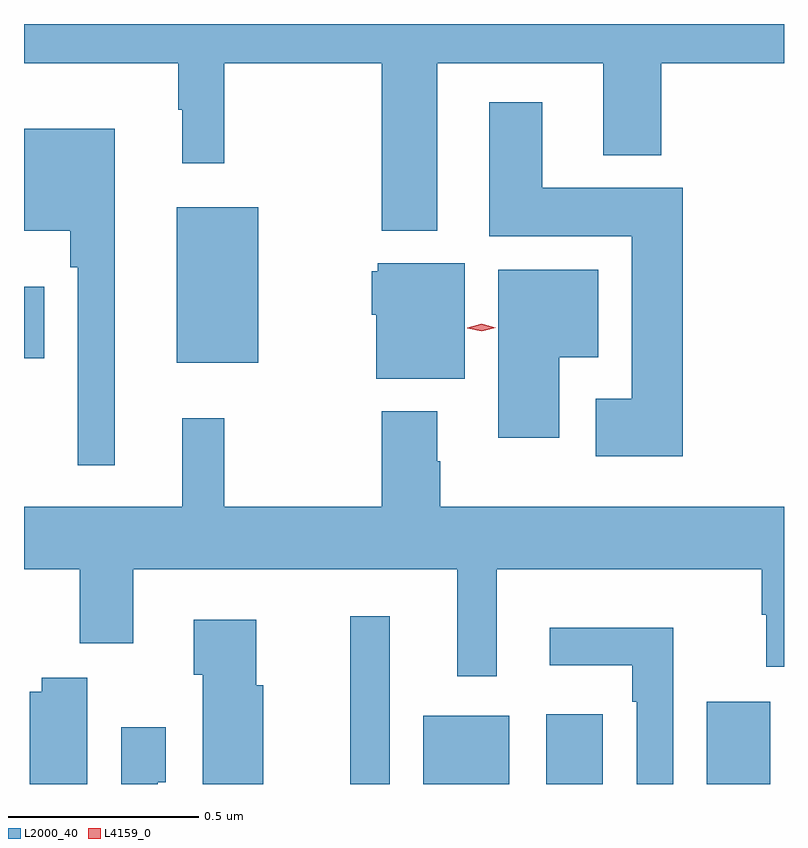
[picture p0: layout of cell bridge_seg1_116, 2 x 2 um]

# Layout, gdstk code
import gdstk
lib = gdstk.Library(unit=1e-6, precision=1e-09)
def R(c, l, rs):  # rectangles x0, y0, x1, y1
    for r in rs: c.add(gdstk.rectangle(r[:2], r[2:], *l))
def P(c, l, *ps):  # polygons
    for p in ps: c.add(gdstk.Polygon(p, *l))
L2000_40 = (2000, 40)
L4159_0 = (4159, 0)

bridge_seg1_116 = lib.new_cell('bridge_seg1_116')
R(bridge_seg1_116, L2000_40, [(127.325,544.507,127.429,544.948), (127.517,544.507,127.744,544.687), (127.841,544.507,127.99,544.69), (128.264,544.507,128.431,544.723), (126.869,545.615,127.084,546.025), (126.467,545.627,126.52,545.815)])
P(bridge_seg1_116, L2000_40, [(127.555,546.404),(127.991,546.404),(127.991,546.161),(128.144,546.161),(128.144,546.404),(128.467,546.404),(128.467,546.507),(126.467,546.507),(126.467,546.404),(126.873,546.404),(126.873,546.281),(126.884,546.281),(126.884,546.141),(126.994,546.141),(126.994,546.404),(127.408,546.404),(127.408,545.963),(127.555,545.963)],
  [(128.201,546.076),(127.831,546.076),(127.831,546.301),(127.691,546.301),(127.691,545.948),(128.066,545.948),(128.066,545.521),(127.971,545.521),(127.971,545.369),(128.201,545.369)],
  [(126.706,546.232),(126.467,546.232),(126.467,545.963),(126.589,545.963),(126.589,545.867),(126.609,545.867),(126.609,545.346),(126.706,545.346)],
  [(127.627,545.878),(127.398,545.878),(127.398,545.856),(127.382,545.856),(127.382,545.742),(127.394,545.742),(127.394,545.573),(127.627,545.573)],
  [(127.876,545.63),(127.978,545.63),(127.978,545.86),(127.715,545.86),(127.715,545.418),(127.876,545.418)],
  [(127.563,545.357),(127.555,545.357),(127.555,545.488),(127.408,545.488),(127.408,545.236),(126.994,545.236),(126.994,545.47),(126.884,545.47),(126.884,545.236),(126.467,545.236),(126.467,545.072),(126.614,545.072),(126.614,544.878),(126.754,544.878),(126.754,545.072),(127.607,545.072),(127.607,544.791),(127.711,544.791),(127.711,545.072),(128.408,545.072),(128.408,544.952),(128.42,544.952),(128.42,544.815),(128.467,544.815),(128.467,545.236),(127.563,545.236)],
  [(127.096,544.767),(127.078,544.767),(127.078,544.939),(126.914,544.939),(126.914,544.794),(126.938,544.794),(126.938,544.507),(127.096,544.507)],
  [(128.175,544.918),(127.851,544.918),(127.851,544.82),(128.067,544.82),(128.067,544.724),(128.079,544.724),(128.079,544.507),(128.175,544.507)],
  [(126.634,544.787),(126.514,544.787),(126.514,544.75),(126.482,544.75),(126.482,544.507),(126.634,544.507)],
  [(126.819,544.512),(126.84,544.512),(126.84,544.657),(126.723,544.657),(126.723,544.507),(126.819,544.507)])
P(bridge_seg1_116, L4159_0, [(127.672,545.698),(127.634,545.707),(127.634,545.708),(127.634,545.708),(127.671,545.718),(127.708,545.708),(127.709,545.708),(127.708,545.708)])

lib.write_gds('bridge_seg1_116.gds')
